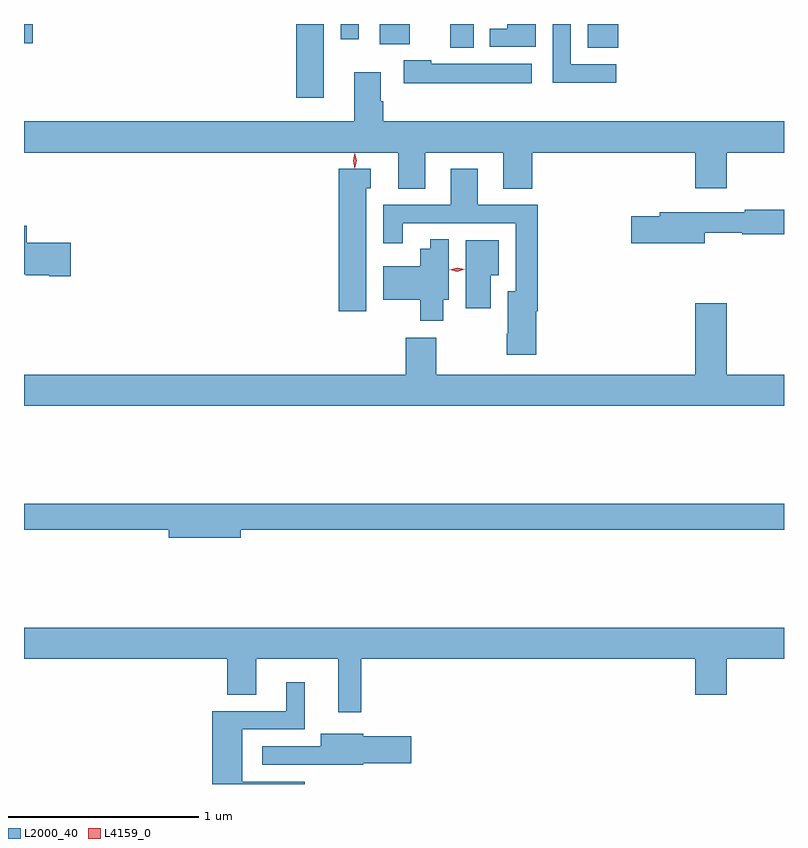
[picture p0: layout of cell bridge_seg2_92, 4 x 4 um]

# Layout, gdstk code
import gdstk
lib = gdstk.Library(unit=1e-6, precision=1e-09)
def R(c, l, rs):  # rectangles x0, y0, x1, y1
    for r in rs: c.add(gdstk.rectangle(r[:2], r[2:], *l))
def P(c, l, *ps):  # polygons
    for p in ps: c.add(gdstk.Polygon(p, *l))
L2000_40 = (2000, 40)
L4159_0 = (4159, 0)

bridge_seg2_92 = lib.new_cell('bridge_seg2_92')
R(bridge_seg2_92, L2000_40, [(354.716,649.257,354.859,649.645), (356.249,649.519,356.41,649.645), (355.526,649.52,355.648,649.645), (355.154,649.538,355.312,649.645), (353.282,649.544,353.327,649.645), (354.948,649.566,355.044,649.645)])
P(bridge_seg2_92, L2000_40, [(356.398,649.434),(356.16,649.434),(356.16,649.645),(356.064,649.645),(356.064,649.337),(356.398,649.337)],
  [(355.975,649.645),(355.826,649.645),(355.826,649.62),(355.733,649.62),(355.733,649.524),(355.975,649.524)],
  [(355.954,649.435),(355.425,649.435),(355.425,649.453),(355.281,649.453),(355.281,649.334),(355.954,649.334)],
  [(355.172,649.238),(355.159,649.238),(355.159,649.39),(355.019,649.39),(355.019,649.132),(353.282,649.132),(353.282,648.968),(355.253,648.968),(355.253,648.778),(355.393,648.778),(355.393,648.968),(355.805,648.968),(355.805,648.778),(355.958,648.778),(355.958,648.968),(356.816,648.968),(356.816,648.78),(356.98,648.78),(356.98,648.968),(357.282,648.968),(357.282,649.132),(355.172,649.132)],
  [(355.979,648.134),(355.985,648.134),(355.985,648.693),(355.669,648.693),(355.669,648.883),(355.529,648.883),(355.529,648.693),(355.172,648.693),(355.172,648.492),(355.276,648.492),(355.276,648.597),(355.869,648.597),(355.869,648.238),(355.829,648.238),(355.829,648.016),(355.822,648.016),(355.822,647.904),(355.979,647.904)],
  [(355.084,648.78),(355.108,648.78),(355.108,648.883),(354.938,648.883),(354.938,648.132),(355.084,648.132)],
  [(356.866,648.546),(357.062,648.546),(357.062,648.538),(357.282,648.538),(357.282,648.667),(357.076,648.667),(357.076,648.654),(356.627,648.654),(356.627,648.633),(356.478,648.633),(356.478,648.491),(356.866,648.491)],
  [(353.527,648.495),(353.296,648.495),(353.296,648.583),(353.282,648.583),(353.282,648.329),(353.292,648.329),(353.292,648.323),(353.414,648.323),(353.414,648.317),(353.527,648.317)],
  [(355.489,648.194),(355.518,648.194),(355.518,648.512),(355.421,648.512),(355.421,648.463),(355.367,648.463),(355.367,648.37),(355.172,648.37),(355.172,648.194),(355.367,648.194),(355.367,648.083),(355.489,648.083)],
  [(355.738,648.323),(355.78,648.323),(355.78,648.508),(355.607,648.508),(355.607,648.15),(355.738,648.15)],
  [(357.282,647.8),(356.98,647.8),(356.98,648.175),(356.816,648.175),(356.816,647.8),(355.452,647.8),(355.452,647.995),(355.292,647.995),(355.292,647.8),(353.282,647.8),(353.282,647.636),(357.282,647.636)],
  [(354.424,646.984),(357.282,646.984),(357.282,647.12),(353.282,647.12),(353.282,646.984),(354.044,646.984),(354.044,646.942),(354.424,646.942)],
  [(355.057,646.304),(356.816,646.304),(356.816,646.116),(356.98,646.116),(356.98,646.304),(357.282,646.304),(357.282,646.468),(353.282,646.468),(353.282,646.304),(354.353,646.304),(354.353,646.114),(354.505,646.114),(354.505,646.304),(354.935,646.304),(354.935,646.023),(355.057,646.023)],
  [(354.76,645.658),(354.43,645.658),(354.43,645.933),(354.76,645.933),(354.76,646.18),(354.662,646.18),(354.662,646.029),(354.272,646.029),(354.272,645.645),(354.76,645.645)],
  [(355.068,645.755),(355.321,645.755),(355.321,645.897),(355.068,645.897),(355.068,645.91),(354.845,645.91),(354.845,645.843),(354.537,645.843),(354.537,645.747),(354.849,645.747),(354.849,645.746),(355.068,645.746)])
P(bridge_seg2_92, L4159_0, [(355.563,648.342),(355.522,648.352),(355.522,648.352),(355.522,648.352),(355.563,648.362),(355.603,648.353),(355.603,648.353),(355.603,648.353)],
  [(355.024,648.882),(355.023,648.883),(355.014,648.924),(355.023,648.965),(355.024,648.965),(355.024,648.965),(355.033,648.924),(355.024,648.883)])

lib.write_gds('bridge_seg2_92.gds')
